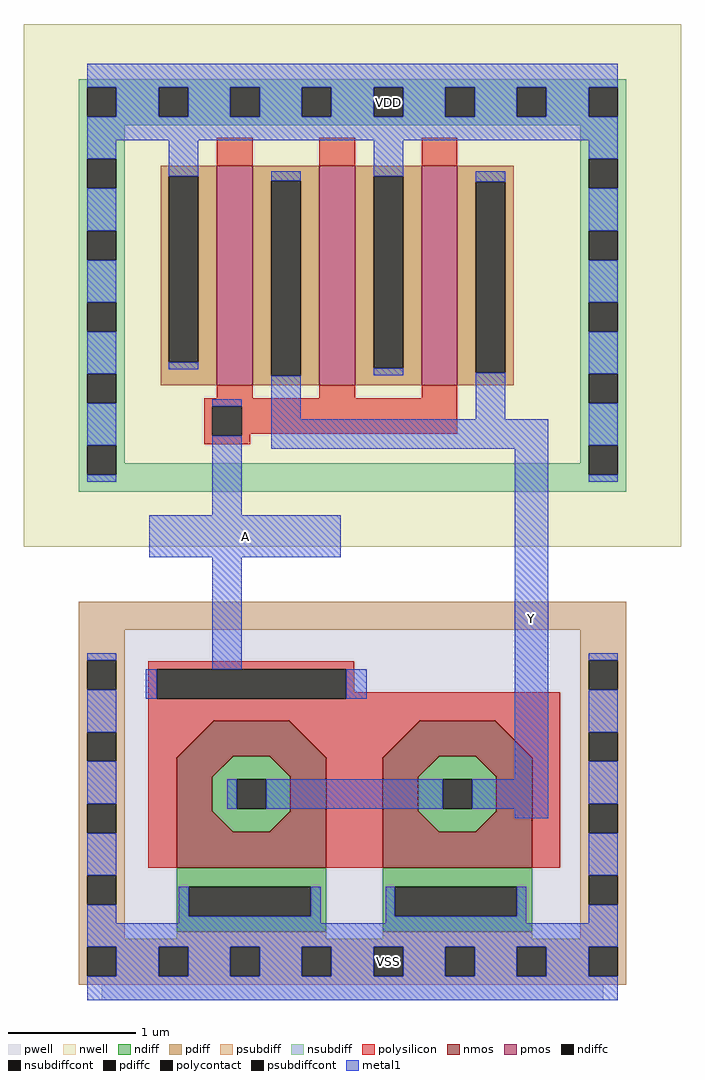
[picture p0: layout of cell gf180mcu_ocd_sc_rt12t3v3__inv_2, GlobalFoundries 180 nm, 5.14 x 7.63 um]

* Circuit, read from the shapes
.subckt gf180mcu_ocd_sc_rt12t3v3__inv_2 VDD VSS Y A
XM1 Y A VSS VSS nfet_03v3 w=1.785u l=0.5309u
XM2 Y A VSS VSS nfet_03v3 w=1.785u l=0.5289u
XM3 Y A VDD VDD pfet_03v3 w=1.715u l=0.28u m=3
.ends

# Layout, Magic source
magic
tech gf180mcuD
magscale 1 10
<< nwell >>
rect -122 649 906 1466
<< pwell >>
rect -36 -36 820 563
rect 0 -60 784 -36
<< nmos >>
tri 117 319 175 377 se
rect 175 321 293 377
rect 175 319 203 321
tri 203 319 205 321 nw
tri 263 319 265 321 ne
rect 265 319 293 321
tri 293 319 351 377 sw
rect 117 203 173 319
tri 173 289 203 319 nw
tri 265 289 295 319 ne
tri 173 203 205 235 sw
tri 263 203 295 235 se
rect 295 203 351 319
rect 117 147 351 203
tri 439 319 497 377 se
rect 497 321 615 377
rect 497 319 525 321
tri 525 319 527 321 nw
tri 585 319 587 321 ne
rect 587 319 615 321
tri 615 319 673 377 sw
rect 439 203 495 319
tri 495 289 525 319 nw
tri 587 289 617 319 ne
tri 495 203 527 235 sw
tri 585 203 617 235 se
rect 617 203 673 319
rect 439 147 673 203
<< pmos >>
rect 180 901 236 1244
rect 340 901 396 1244
rect 500 901 556 1244
<< ndiff >>
tri 203 319 205 321 se
rect 205 319 263 321
tri 263 319 265 321 sw
tri 173 289 203 319 se
rect 203 289 265 319
tri 265 289 295 319 sw
rect 173 285 295 289
rect 173 239 211 285
rect 257 239 295 285
rect 173 235 295 239
tri 173 203 205 235 ne
rect 205 203 263 235
tri 263 203 295 235 nw
tri 525 319 527 321 se
rect 527 319 585 321
tri 585 319 587 321 sw
tri 495 289 525 319 se
rect 525 289 587 319
tri 587 289 617 319 sw
rect 495 285 617 289
rect 495 239 533 285
rect 579 239 617 285
rect 495 235 617 239
tri 495 203 527 235 ne
rect 527 203 585 235
tri 585 203 617 235 nw
rect 117 117 351 147
rect 117 71 136 117
rect 327 71 351 117
rect 117 47 351 71
rect 439 117 673 147
rect 439 71 458 117
rect 649 71 673 117
rect 439 47 673 71
<< pdiff >>
rect 92 1228 180 1244
rect 92 937 105 1228
rect 151 937 180 1228
rect 92 901 180 937
rect 236 1221 340 1244
rect 236 916 265 1221
rect 311 916 340 1221
rect 236 901 340 916
rect 396 1228 500 1244
rect 396 928 425 1228
rect 471 928 500 1228
rect 396 901 500 928
rect 556 1219 644 1244
rect 556 921 585 1219
rect 631 921 644 1219
rect 556 901 644 921
<< ndiffc >>
rect 211 239 257 285
rect 533 239 579 285
rect 136 71 327 117
rect 458 71 649 117
<< pdiffc >>
rect 105 937 151 1228
rect 265 916 311 1221
rect 425 928 471 1228
rect 585 921 631 1219
<< psubdiff >>
rect -36 519 820 563
rect -36 471 36 519
rect -36 425 -23 471
rect 23 425 36 471
rect 748 471 820 519
rect -36 359 36 425
rect -36 313 -23 359
rect 23 313 36 359
rect -36 247 36 313
rect -36 201 -23 247
rect 23 201 36 247
rect -36 135 36 201
rect 748 425 761 471
rect 807 425 820 471
rect 748 359 820 425
rect 748 313 761 359
rect 807 313 820 359
rect 748 247 820 313
rect 748 201 761 247
rect 807 201 820 247
rect -36 89 -23 135
rect 23 89 36 135
rect -36 36 36 89
rect 117 36 351 47
rect 439 36 673 47
rect 748 135 820 201
rect 748 89 761 135
rect 807 89 820 135
rect 748 36 820 89
rect -36 23 820 36
rect -36 -23 -23 23
rect 23 -23 89 23
rect 135 -23 201 23
rect 247 -23 313 23
rect 359 -23 425 23
rect 471 -23 537 23
rect 583 -23 649 23
rect 695 -23 761 23
rect 807 -23 820 23
rect -36 -36 820 -23
<< nsubdiff >>
rect -36 1367 820 1380
rect -36 1321 -23 1367
rect 23 1321 89 1367
rect 135 1321 201 1367
rect 247 1321 313 1367
rect 359 1321 425 1367
rect 471 1321 537 1367
rect 583 1321 649 1367
rect 695 1321 761 1367
rect 807 1321 820 1367
rect -36 1308 820 1321
rect -36 1255 36 1308
rect -36 1209 -23 1255
rect 23 1209 36 1255
rect 748 1255 820 1308
rect -36 1143 36 1209
rect -36 1097 -23 1143
rect 23 1097 36 1143
rect -36 1031 36 1097
rect -36 985 -23 1031
rect 23 985 36 1031
rect -36 919 36 985
rect -36 873 -23 919
rect 23 873 36 919
rect 748 1209 761 1255
rect 807 1209 820 1255
rect 748 1143 820 1209
rect 748 1097 761 1143
rect 807 1097 820 1143
rect 748 1031 820 1097
rect 748 985 761 1031
rect 807 985 820 1031
rect 748 919 820 985
rect -36 807 36 873
rect 748 873 761 919
rect 807 873 820 919
rect -36 761 -23 807
rect 23 779 36 807
rect 748 807 820 873
rect 748 779 761 807
rect 23 761 761 779
rect 807 761 820 807
rect -36 735 820 761
<< psubdiffcont >>
rect -23 425 23 471
rect -23 313 23 359
rect -23 201 23 247
rect 761 425 807 471
rect 761 313 807 359
rect 761 201 807 247
rect -23 89 23 135
rect 761 89 807 135
rect -23 -23 23 23
rect 89 -23 135 23
rect 201 -23 247 23
rect 313 -23 359 23
rect 425 -23 471 23
rect 537 -23 583 23
rect 649 -23 695 23
rect 761 -23 807 23
<< nsubdiffcont >>
rect -23 1321 23 1367
rect 89 1321 135 1367
rect 201 1321 247 1367
rect 313 1321 359 1367
rect 425 1321 471 1367
rect 537 1321 583 1367
rect 649 1321 695 1367
rect 761 1321 807 1367
rect -23 1209 23 1255
rect -23 1097 23 1143
rect -23 985 23 1031
rect -23 873 23 919
rect 761 1209 807 1255
rect 761 1097 807 1143
rect 761 985 807 1031
rect 761 873 807 919
rect -23 761 23 807
rect 761 761 807 807
<< polysilicon >>
rect 180 1244 236 1288
rect 340 1244 396 1288
rect 500 1244 556 1288
rect 180 881 236 901
rect 340 881 396 901
rect 500 881 556 901
rect 160 868 556 881
rect 160 822 173 868
rect 219 825 556 868
rect 219 822 232 825
rect 160 809 232 822
rect 73 457 395 470
rect 73 411 86 457
rect 382 421 395 457
rect 382 411 717 421
rect 73 377 717 411
rect 73 147 117 377
tri 117 319 175 377 nw
tri 293 319 351 377 ne
rect 351 147 439 377
tri 439 319 497 377 nw
tri 615 319 673 377 ne
rect 673 147 717 377
<< polycontact >>
rect 173 822 219 868
rect 86 411 382 457
<< metal1 >>
rect -23 1367 807 1404
rect 23 1321 89 1367
rect 135 1321 201 1367
rect 247 1321 313 1367
rect 359 1321 425 1367
rect 471 1321 537 1367
rect 583 1321 649 1367
rect 695 1321 761 1367
rect -23 1284 807 1321
rect -23 1255 23 1284
rect -23 1143 23 1209
rect -23 1031 23 1097
rect -23 919 23 985
rect 105 1228 151 1284
rect 105 926 151 937
rect 265 1221 311 1236
rect 425 1228 471 1284
rect 761 1255 807 1284
rect 425 917 471 928
rect 585 1219 631 1236
rect -23 807 23 873
rect -23 750 23 761
rect 173 868 219 879
rect 173 698 219 822
rect 265 848 311 916
rect 585 848 631 921
rect 761 1143 807 1209
rect 761 1031 807 1097
rect 761 919 807 985
rect 265 802 698 848
rect 74 632 374 698
rect -23 471 23 482
rect 173 457 219 632
rect -23 359 23 425
rect 69 411 86 457
rect 382 411 414 457
rect -23 247 23 313
rect 646 285 698 802
rect 761 807 807 873
rect 761 750 807 761
rect 196 239 211 285
rect 257 239 533 285
rect 579 239 698 285
rect 646 224 698 239
rect 761 471 807 482
rect 761 359 807 425
rect 761 247 807 313
rect -23 135 23 201
rect 761 135 807 201
rect -23 60 23 89
rect 120 71 136 117
rect 327 71 342 117
rect 120 60 342 71
rect 444 71 458 117
rect 649 71 664 117
rect 444 60 664 71
rect 761 60 807 89
rect -23 23 807 60
rect 23 -23 89 23
rect 135 -23 201 23
rect 247 -23 313 23
rect 359 -23 425 23
rect 471 -23 537 23
rect 583 -23 649 23
rect 695 -23 761 23
rect -23 -60 807 -23
<< labels >>
flabel metal1 s 0 -60 896 60 0 FreeSans 400 0 0 0 VSS
port 4 nsew ground bidirectional abutment
flabel metal1 s 646 224 698 848 0 FreeSans 320 0 0 0 Y
port 8 nsew
flabel metal1 s 0 1284 896 1404 0 FreeSans 400 0 0 0 VDD
port 1 nsew power bidirectional abutment
flabel metal1 s 74 632 374 698 0 FreeSans 320 0 0 0 A
port 10 nsew
<< properties >>
string FIXED_BBOX 0 0 784 1344
<< end >>
